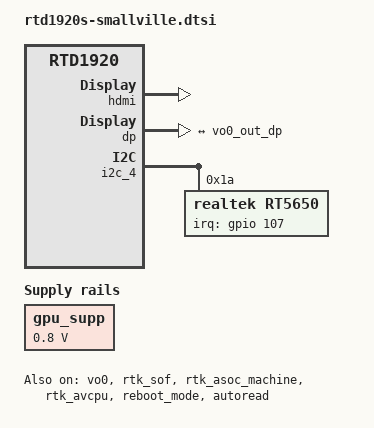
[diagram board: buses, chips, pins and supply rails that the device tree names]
// SPDX-License-Identifier: (GPL-2.0-or-later OR BSD-2-Clause)
/*
 * Realtek RTD1920S Smallville EVB
 *
 * Copyright (c) 2024 Realtek Semiconductor Corp.
 */

/dts-v1/;

#include <dt-bindings/thermal/thermal.h>
#include "rtd1920.dtsi"
#include "rtd1920s-smallville.rds.dtsi"

/ {
	chosen {
		bootargs = "earlycon=uart8250,mmio32,0x98007800 console=ttyS0,460800 8250.nr_uarts=11 8250.share_irqs=1 init=/init loglevel=8 max_loop=64 loop.max_part=7 firmware_class.path=/vendor/firmware/";
		stdout-path = "serial0:460800n8";
	};
};

&sdio {
	wifi-rst-gpios = <&gpio 27 GPIO_ACTIVE_HIGH>;
	wifi-rst-shared;
	device-power-supply = <&wlan_supp>;
};

&pcie0 {
	device-power-gpios = <&gpio 136 GPIO_ACTIVE_HIGH>;
};

&pcie1 {
	device-power-supply = <&wlan_supp>;
};

&hdmi {
	hdmi-supply = <&hdmi_supp>;
	status = "okay";
	check-connector-limit;
	max-clock-k = <348500>;
};

&vo0 {
	status = "okay";

	vo0_out: port {
		vo0_out_hdmi: endpoint@0 {
			remote-endpoint = <&hdmi_in_vo0>;
		};

		vo0_out_dp: endpoint@1 {
			remote-endpoint = <&dp_in_vo0>;
		};
	};
};

/delete-node/ &vo2_out_dp;
/delete-node/ &dp_in_vo2;

&vo2 {
    status = "disabled";
};

&dp {
    status = "okay";
	check-connector-limit;
	max-clock-k = <348500>;
	ports {
		port@0 {
			dp_in_vo0: endpoint {
				remote-endpoint = <&vo0_out_dp>;
			};
		};
	};
};

&edp {
	max-clock-k = <193250>;
};

&{/} {
	clk_scpu: clk-scpu {
		compatible = "realtek,rtd1625-scpu-clk";
		realtek,cc = <&cc>;
		#clock-cells = <0>;
	};

	cpu_opps: opp-table-cpu {
		compatible = "operating-points-v2";
		opp-shared;

		opp1000: opp-1000000000 {
			opp-hz = /bits/ 64 <1000000000>;
			opp-microvolt = <870000 870000 1100000>;
			clock-latency-ns = <150000>;
			status = "okay";
		};

		opp1100: opp-1100000000 {
			opp-hz = /bits/ 64 <1100000000>;
			opp-microvolt = <890000 890000 1100000>;
			clock-latency-ns = <150000>;
			status = "okay";
		};

		opp1200: opp-1200000000 {
			opp-hz = /bits/ 64 <1200000000>;
			opp-microvolt = <910000 910000 1100000>;
			clock-latency-ns = <150000>;
			status = "okay";
		};

		opp1300: opp-1300000000 {
			opp-hz = /bits/ 64 <1300000000>;
			opp-microvolt = <930000 930000 1100000>;
			clock-latency-ns = <150000>;
			status = "okay";
		};

		opp1400: opp-1400000000 {
			opp-hz = /bits/ 64 <1400000000>;
			opp-microvolt = <950000 950000 1100000>;
			clock-latency-ns = <150000>;
			status = "okay";
		};

		opp1500: opp-1500000000 {
			opp-hz = /bits/ 64 <1500000000>;
			opp-microvolt = <970000 970000 1100000>;
			clock-latency-ns = <150000>;
			status = "okay";
		};

		opp1600: opp-1600000000 {
			opp-hz = /bits/ 64 <1600000000>;
			opp-microvolt = <990000 990000 1100000>;
			clock-latency-ns = <150000>;
			opp-suspend;
			status = "okay";
		};

		opp1700: opp-1700000000 {
			opp-hz = /bits/ 64 <1700000000>;
			opp-microvolt = <1010000 1010000 1100000>;
			clock-latency-ns = <150000>;
			status = "okay";
		};

		opp1800: opp-1800000000 {
			opp-hz = /bits/ 64 <1800000000>;
			opp-microvolt = <1030000 1030000 1100000>;
			clock-latency-ns = <150000>;
			status = "okay";
		};

		opp1900: opp-1900000000 {
			opp-hz = /bits/ 64 <1900000000>;
			opp-microvolt = <1050000 1050000 1100000>;
			clock-latency-ns = <150000>;
			status = "okay";
		};
	};
};

&cpu0 {
	clocks = <&clk_scpu>;
	cpu-supply = <&cpu_supp>;
	operating-points-v2 = <&cpu_opps>;
	#cooling-cells = <2>;
};

&cpu1 {
	clocks = <&clk_scpu>;
	cpu-supply = <&cpu_supp>;
	operating-points-v2 = <&cpu_opps>;
	#cooling-cells = <2>;
};

&cpu2 {
	clocks = <&clk_scpu>;
	cpu-supply = <&cpu_supp>;
	operating-points-v2 = <&cpu_opps>;
	#cooling-cells = <2>;
};

&cpu3 {
	clocks = <&clk_scpu>;
	cpu-supply = <&cpu_supp>;
	operating-points-v2 = <&cpu_opps>;
	#cooling-cells = <2>;
};

&gpu {
	mali-supply = <&gpu_supp>;
	shadercores-supply = <&gpu_supp>;
	operating-points-v2 = <&gpu_opps>;
};

&gpio {
	gpio-line-names = "",
			  "",
			  "",
			  "",
			  "",
			  "",
			  "",
			  "",
			  "",
			  "",
			  "",
			  "",
			  "",
			  "",
			  "",
			  "",
			  "",
			  "",
			  "",
			  "",
			  "",
			  "",
			  "",
			  "",
			  "",
			  "",
			  "AP_FLASH_WP_L";
};

&i2c_4 {
	rt5650: rt5650@1a {
		compatible = "realtek,rt5650";
		reg = <0x1a>;
		interrupt-parent = <&gpio>;
		interrupts = <107 IRQ_TYPE_EDGE_BOTH>;
		realtek,jd-mode = <2>;
	};
};

&rtk_sof {
	status = "okay";
	intr-syscon = <&sb2>;
	ipc-syscon = <&sb2_pmu>;
};

&rtk_asoc_machine {
	pinctrl-names = "default";
	pinctrl-0 = <&ao_i2s0_loc0_pins>, <&ao_i2s0_pins>, <&ao_i2s1_loc0_no_mck_pins>, <&ai_i2s0_d0_pins>, <&ai_dmic0_pins>;
	realtek,audio-platform = <&rtk_sof>;
	realtek,audio-codec = <&rt5650>;
	realtek,hdmi-audio = <&hdmi>;
	realtek,dp-audio = <&dp>;
	realtek,dai-link = "RDAI_I2S","RDAI_I2S1","RDAI_DMIC","RDAI_HDMI","RDAI_DP";
	status = "okay";
};

&hifi_rpmsg {
	skip-handshake;
};

&rtk_avcpu {
	status = "okay";
};

&{/} {
	gpu_supp: fixed-gpu {
		compatible = "regulator-fixed";
		regulator-name = "gpu";
		regulator-min-microvolt = <800000>;
		regulator-max-microvolt = <800000>;
	};

	gpu_opps: opp-table-gpu {
		compatible = "operating-points-v2", "operating-points-v2-mali";

		opp-405000000 {
			opp-hz = /bits/ 64 <405000000>;
			opp-hz-real = /bits/ 64 <405000000>;
			opp-microvolt = <800000>, <800000>;
			opp-suspend;
		};

		opp-540000000 {
			opp-hz = /bits/ 64 <540000000>;
			opp-hz-real = /bits/ 64 <540000000>;
			opp-microvolt = <800000>, <800000>;
		};

		opp-729000000 {
			opp-hz = /bits/ 64 <729000000>;
			opp-hz-real = /bits/ 64 <729000000>;
			opp-microvolt = <800000>, <800000>;
		};

		opp-850500000 {
			opp-hz = /bits/ 64 <850500000>;
			opp-hz-real = /bits/ 64 <850500000>;
			opp-microvolt = <800000>, <800000>;
		};
	};
};

&reboot_mode {
	status = "okay";
};

&autoread {
	status = "okay";
};

